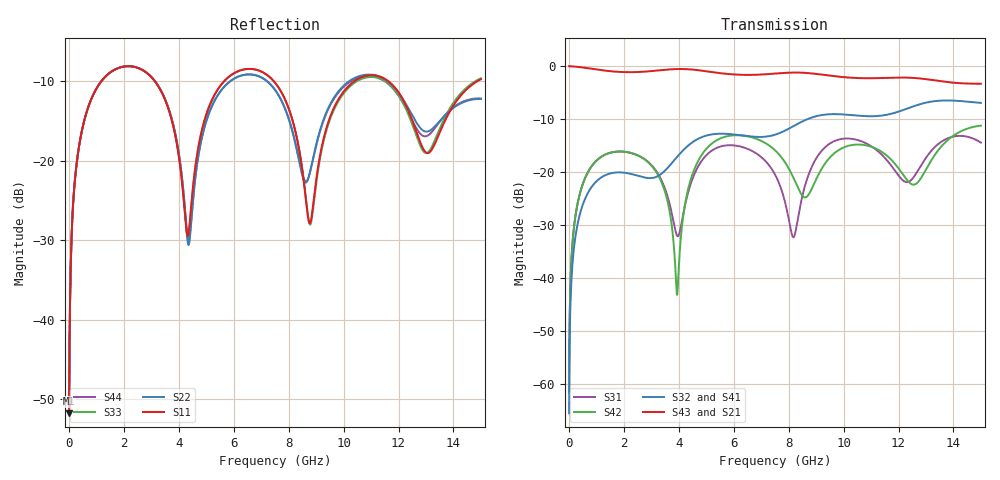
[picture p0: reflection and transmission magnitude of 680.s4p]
! Created with skrf 1.8.0 (http://scikit-rf.org).
# GHz S RI R 50.0
!freq ReS11 ImS11 ReS12 ImS12 ReS13 ImS13
! ReS14 ImS14
! ReS21 ImS21 ReS22 ImS22 ReS23 ImS23
! ReS24 ImS24
! ReS31 ImS31 ReS32 ImS32 ReS33 ImS33
! ReS34 ImS34
! ReS41 ImS41 ReS42 ImS42 ReS43 ImS43
! ReS44 ImS44
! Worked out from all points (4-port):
!   2499 points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, 5 MHz to 15 GHz, reference 50 ohm
!   strongest paths, dB at 5 MHz, 3.476 GHz, 7.19 GHz, 11.1 GHz, 15 GHz:
!     S43: 0.0, -0.7, -1.5, -2.3, -3.3
!     S21: 0.0, -0.7, -1.5, -2.3, -3.3
!     S32: -65.6, -19.8, -13.3, -9.5, -7.0
!     S41: -65.6, -19.8, -13.3, -9.5, -6.9
!     S42: -61.6, -23.4, -14.7, -15.4, -11.2
!     S31: -61.6, -22.9, -18.1, -15.5, -14.5
!   lowest |S11| = -51.7 dB at 5 MHz (marker M1), VSWR 1.01, Z = 50.2 + j0.157 ohm
!   |S11| at or under -10 dB: 3.125 GHz to 5.652 GHz (2.527 GHz wide, 57.6 % of centre); 7.455 GHz to 10.39 GHz (2.939 GHz wide, 32.9 % of centre); 11.63 GHz to 14.87 GHz (3.247 GHz wide, 24.5 % of centre) (the widest 3 of 4)
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0.005  0.00206 0.00157  0.9979 -0.00401  0.000105 0.000824  -0.000102 -0.000516
       0.9979 -0.00401  0.00206 0.00157  -0.000102 -0.000516  0.000105 0.000824
       0.000105 0.000824  -0.000102 -0.000516  0.00206 0.00157  0.9979 -0.00401
       -0.000102 -0.000516  0.000105 0.000824  0.9979 -0.00401  0.00206 0.00157
1.269279  0.2802 0.1735  0.5283 -0.7401  0.1311 0.059  -0.0918 -0.00286
          0.5283 -0.7401  0.2799 0.1738  -0.0918 -0.00285  0.1315 0.0584
          0.1311 0.059  -0.0918 -0.00285  0.2801 0.1736  0.5283 -0.7401
          -0.0918 -0.00286  0.1315 0.0584  0.5283 -0.7401  0.2799 0.1738
4.251772  0.0338 -0.0227  -0.9271 -0.1265  -0.023 0.0465  -0.0194 0.1681
          -0.9271 -0.1265  0.0302 -0.0305  -0.0194 0.1682  0.0181 0.051
          -0.023 0.0465  -0.0194 0.1682  0.0329 -0.023  -0.9271 -0.1267
          -0.0194 0.1681  0.0181 0.051  -0.9271 -0.1267  0.0311 -0.0306
6.52772  0.3773 -0.0111  -0.113 0.8177  0.1638 -0.0132  0.2129 -0.0435
         -0.113 0.8177  0.3481 0.0174  0.2132 -0.0439  0.1825 -0.1165
         0.1638 -0.0132  0.2132 -0.0439  0.3768 -0.00975  -0.1131 0.8177
         0.2129 -0.0435  0.1825 -0.1165  -0.1131 0.8177  0.3482 0.0159
8.722384  0.0396 -0.0152  0.8488 0.1263  0.0481 0.0806  0.039 -0.316
          0.8488 0.1263  0.0743 0.0243  0.0386 -0.316  -0.0382 0.0475
          0.0481 0.0806  0.0386 -0.316  0.0388 -0.0183  0.8487 0.1276
          0.039 -0.316  -0.0382 0.0475  0.8487 0.1276  0.0755 0.0212
11.48604  0.319 -0.0774  -0.1244 -0.7588  0.0524 -0.127  -0.3305 0.0921
          -0.1244 -0.7588  0.3184 -0.0698  -0.3307 0.0936  0.0492 -0.1405
          0.0524 -0.127  -0.3307 0.0936  0.3102 -0.0707  -0.1261 -0.7621
          -0.3305 0.0921  0.0492 -0.1405  -0.1261 -0.7621  0.3079 -0.0735
15  0.3225 0.039  -0.3483 0.5869  0.1887 0.0145  0.4232 0.1532
    -0.3483 0.5869  0.2441 -0.00801  0.4223 0.1533  0.2413 -0.1299
    0.1887 0.0145  0.4223 0.1533  0.3271 0.04  -0.3469 0.5862
    0.4232 0.1532  0.2413 -0.1299  -0.3469 0.5862  0.2462 -0.00388
